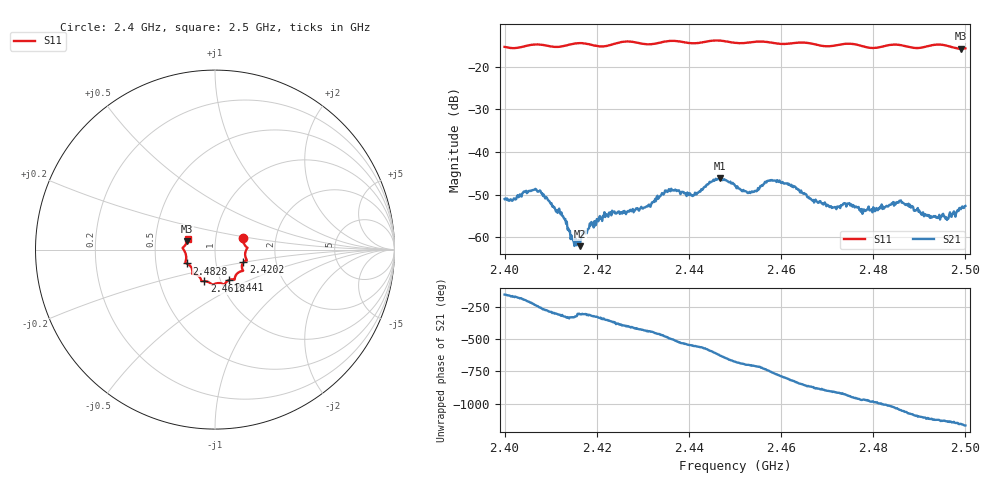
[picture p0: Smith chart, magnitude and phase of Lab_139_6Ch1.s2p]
# Hz S RI R 50
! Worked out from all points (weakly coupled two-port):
!   601 points, 2.4 GHz to 2.5 GHz, reference 50 ohm
!   highest |S21| = -46.17 dB at 2.4467 GHz (marker M1); lowest = -62.0 dB at 2.4163 GHz (marker M2)
!   lowest |S11| = -15.8 dB at 2.499 GHz (marker M3), VSWR 1.39, Z = 36.5 + j3.48 ohm
!   |S11| at or under -10 dB: start of sweep to end of sweep
!   S12 and S22 are empty: the file has one direction only
!   S11 on the Smith chart (normalised r, x): 2.4 GHz: 1.36, +0.18; 2.4202 GHz: 1.36, -0.20; 2.441 GHz: 1.10, -0.39; 2.4618 GHz: 0.84, -0.30; 2.4828 GHz: 0.72, -0.12; 2.5 GHz: 0.73, +0.09
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2.4e9  0.1575 0.0629  -0.0026 -0.00108  0 0  0 0
2.407333e9  0.1808 0.00938  -0.00114 0.00325  0 0  0 0
2.412167e9  0.168 -0.0303  0.00141 0.00122  0 0  0 0
2.415167e9  0.1766 -0.0564  0.000704 0.000371  0 0  0 0
2.416333e9  0.1781 -0.0595  0.000508 0.000607  0 0  0 0
2.416667e9  0.1778 -0.06  0.000651 0.000759  0 0  0 0
2.420167e9  0.1582 -0.0707  0.00144 0.000773  0 0  0 0
2.433333e9  0.1122 -0.1511  -0.000584 -0.00277  0 0  0 0
2.436167e9  0.1096 -0.1666  -0.00289 -0.00235  0 0  0 0
2.441e9  0.0786 -0.1695  -0.00302 0.000768  0 0  0 0
2.446667e9  0.0493 -0.195  -0.000226 0.00491  0 0  0 0
2.45e9  0.0283 -0.1871  0.0029 0.0028  0 0  0 0
2.453e9  -0.000545 -0.1908  0.00314 0.00113  0 0  0 0
2.4575e9  -0.0216 -0.1906  0.00402 -0.00229  0 0  0 0
2.461833e9  -0.0592 -0.1758  -0.000164 -0.00411  0 0  0 0
2.466667e9  -0.0778 -0.1682  -0.00237 -0.00135  0 0  0 0
2.482833e9  -0.1575 -0.0774  0.000762 0.00221  0 0  0 0
2.483333e9  -0.1606 -0.0762  0.000917 0.00215  0 0  0 0
2.486167e9  -0.1639 -0.0668  0.00229 0.00112  0 0  0 0
2.495833e9  -0.1753 0.0149  0.000994 -0.00141  0 0  0 0
2.499e9  -0.1546 0.0465  0.000565 -0.00206  0 0  0 0
2.5e9  -0.1517 0.0609  9.23e-05 -0.00234  0 0  0 0
